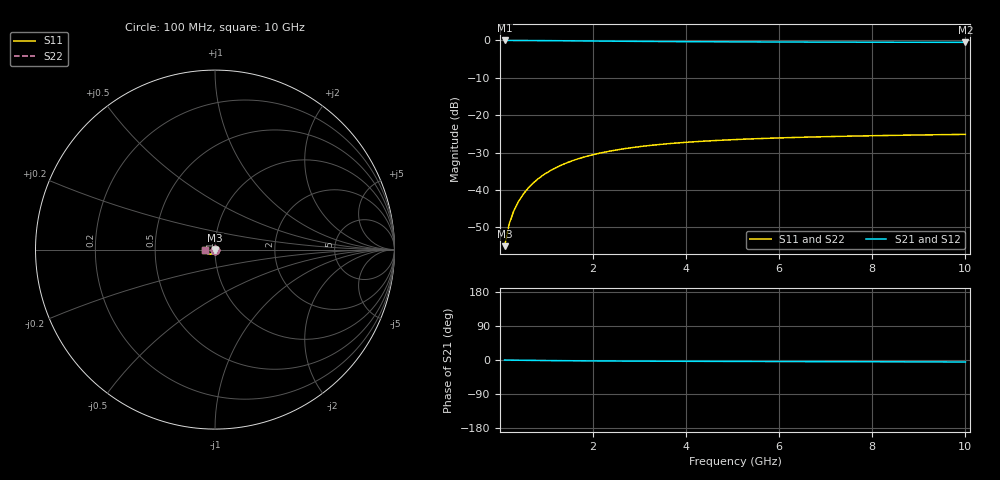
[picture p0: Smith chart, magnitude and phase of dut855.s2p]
! Touchstone file exported from HFSS 2024.1.0
!  File:  C:/UserFiles/LocalFiles/RDL_TSV_Batchsim/temp_TSV1_855_1779881296.aedt
!  Generated:  07:33:19 PM May 27, 2026
!  Design:  TSV1
!  Project:  temp_TSV1_855_1779881296
!  Setup:  Setup1
!  Solution:  Sweep
! Variables:
!  dtsv = 14.46um
!  hbump = 3um
!  htsv = 79.72um
!  lrdl = 252.1521522um
!  p = 40
!  p1 = 59.19um
!  t = 500um
!  trdl = 3um
!  wrdl = 24.89489489um
# GHz S MA R 50.000000
! Terminal data exported
! Port[1] = TSV22_T1
! Port[2] = TSV22_T2
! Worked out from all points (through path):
!   100 points, 100 MHz to 10 GHz, reference 50 ohm
!   highest |S21| = 0.00 dB at 100 MHz (marker M1); lowest = -0.5 dB at 10 GHz (marker M2)
!   lowest |S11| = -55.1 dB at 100 MHz (marker M3), VSWR 1.00, Z = 50 - j0.177 ohm
!   |S11| at or under -10 dB: start of sweep to end of sweep
!   |S22| runs from -55.1 to -25.1 dB; largest |S21 - S12| = 4.8e-15
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0.1  0.001765 -89.4  0.9999 -0.2  0.9999 -0.2  0.001765 -89.4
! Gamma 0 0 0 0
! Port Impedance 50 0 50 0
0.2  0.003529 -92.6  0.9997 -0.3  0.9997 -0.3  0.003529 -92.6
0.3  0.005287 -95.0  0.9993 -0.5  0.9993 -0.5  0.005287 -95.0
0.4  0.007032 -97.2  0.9989 -0.6  0.9989 -0.6  0.007032 -97.2
0.5  0.008756 -99.3  0.9983 -0.7  0.9983 -0.7  0.008756 -99.3
0.6  0.01045 -101.3  0.9977 -0.9  0.9977 -0.9  0.01045 -101.3
0.7  0.01211 -103.4  0.9969 -1.0  0.9969 -1.0  0.01211 -103.4
0.8  0.01374 -105.3  0.9961 -1.2  0.9961 -1.2  0.01374 -105.3
0.9  0.01532 -107.3  0.9952 -1.3  0.9952 -1.3  0.01532 -107.3
1.1  0.01836 -111.0  0.9932 -1.5  0.9932 -1.5  0.01836 -111.0
1.4  0.02254 -116.2  0.9899 -1.9  0.9899 -1.9  0.02254 -116.2
1.6  0.02509 -119.5  0.9876 -2.1  0.9876 -2.1  0.02509 -119.5
1.8  0.02743 -122.6  0.9852 -2.2  0.9852 -2.2  0.02743 -122.6
2.1  0.03059 -126.9  0.9817 -2.5  0.9817 -2.5  0.03059 -126.9
2.5  0.03421 -132.0  0.9772 -2.7  0.9772 -2.7  0.03421 -132.0
2.9  0.03723 -136.6  0.9731 -2.9  0.9731 -2.9  0.03723 -136.6
3.4  0.04034 -141.6  0.9686 -3.2  0.9686 -3.2  0.04034 -141.6
4.2  0.04416 -148.3  0.9626 -3.5  0.9626 -3.5  0.04416 -148.3
5.1  0.04728 -154.4  0.9574 -3.8  0.9574 -3.8  0.04728 -154.4
6.7  0.05102 -163.0  0.951 -4.2  0.951 -4.2  0.05102 -163.0
8.4  0.0536 -170.0  0.9466 -4.8  0.9466 -4.8  0.0536 -170.0
10  0.05533 -175.5  0.9438 -5.3  0.9438 -5.3  0.05533 -175.5
